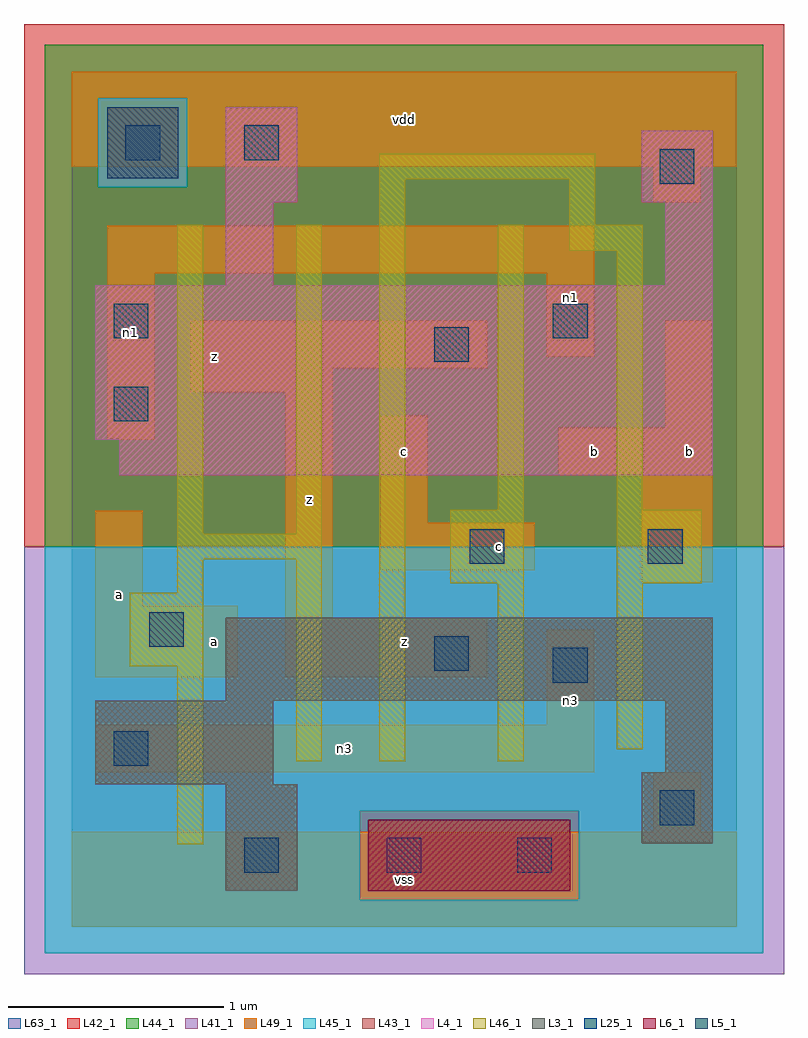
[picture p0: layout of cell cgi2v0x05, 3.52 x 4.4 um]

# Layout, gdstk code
import gdstk
lib = gdstk.Library(unit=1e-6, precision=1e-09)
def R(c, l, rs):  # rectangles x0, y0, x1, y1
    for r in rs: c.add(gdstk.rectangle(r[:2], r[2:], *l))
L3_1 = (3, 1)
L4_1 = (4, 1)
L5_1 = (5, 1)
L6_1 = (6, 1)
L25_1 = (25, 1)
L41_1 = (41, 1)
L42_1 = (42, 1)
L43_1 = (43, 1)
L44_1 = (44, 1)
L45_1 = (45, 1)
L46_1 = (46, 1)
L49_1 = (49, 1)
L63_1 = (63, 1)

cgi2v0x05 = lib.new_cell('cgi2v0x05')
R(cgi2v0x05, L3_1, [(0.715,0.165,1.045,0.66), (2.64,0.385,2.97,0.715), (0.11,0.66,0.935,1.045), (2.75,0.715,2.97,1.045), (0.715,1.045,2.97,1.43)])
R(cgi2v0x05, L4_1, [(0.22,2.09,2.97,2.255), (0.11,2.255,2.97,2.97), (0.715,2.97,0.935,3.355), (2.75,2.97,2.97,3.355), (0.715,3.355,1.045,3.795), (2.64,3.355,2.97,3.685)])
R(cgi2v0x05, L5_1, [(0.165,3.465,0.495,3.795)])
R(cgi2v0x05, L6_1, [(1.375,0.165,2.31,0.495)])
R(cgi2v0x05, L25_1, [(0.8,0.25,0.96,0.41), (1.46,0.25,1.62,0.41), (2.065,0.25,2.225,0.41), (2.725,0.47,2.885,0.63), (0.195,0.745,0.355,0.905), (2.23,1.13,2.39,1.29), (1.68,1.185,1.84,1.345), (0.36,1.295,0.52,1.455), (1.845,1.68,2.005,1.84), (2.67,1.68,2.83,1.84), (0.195,2.34,0.355,2.5), (1.68,2.615,1.84,2.775), (0.195,2.725,0.355,2.885), (2.23,2.725,2.39,2.885), (2.725,3.44,2.885,3.6), (0.25,3.55,0.41,3.71), (0.8,3.55,0.96,3.71)])
R(cgi2v0x05, L41_1, [(-0.22,-0.22,3.3,1.76)])
R(cgi2v0x05, L42_1, [(-0.22,1.76,3.3,4.18)])
R(cgi2v0x05, L43_1, [(0.715,0.165,1.045,0.66), (1.375,0.165,2.31,0.495), (2.64,0.385,2.97,0.715), (0.11,0.66,0.935,1.045), (2.75,0.715,2.97,1.045), (0.715,1.045,2.97,1.43), (0.22,2.09,2.97,2.255), (0.11,2.255,2.97,2.97), (0.715,2.97,0.935,3.355), (2.75,2.97,2.97,3.355), (0.715,3.355,1.045,3.795), (2.64,3.355,2.97,3.685), (0.165,3.465,0.495,3.795)])
R(cgi2v0x05, L44_1, [(1.335,0.125,2.35,0.535), (-0.125,1.76,3.205,3.425), (-0.125,3.425,0.125,3.835), (0.535,3.425,3.205,3.835), (-0.125,3.835,3.205,4.085)])
R(cgi2v0x05, L45_1, [(-0.125,-0.125,3.205,0.125), (-0.125,0.125,1.335,0.535), (2.35,0.125,3.205,0.535), (-0.125,0.535,3.205,1.76), (0.125,3.425,0.535,3.835)])
R(cgi2v0x05, L46_1, [(0.49,0.38,0.61,1.205), (1.04,0.765,1.16,1.7), (1.425,0.765,1.545,3.46), (1.975,0.765,2.095,1.59), (2.525,0.82,2.645,1.59), (0.27,1.205,0.61,1.545), (0.49,1.545,0.61,1.7), (1.755,1.59,2.095,1.93), (2.525,1.59,2.92,1.93), (0.49,1.7,1.16,1.82), (0.49,1.82,0.61,3.25), (1.04,1.82,1.16,3.25), (1.975,1.93,2.095,3.25), (2.525,1.93,2.645,3.13), (2.305,3.13,2.645,3.25), (2.305,3.25,2.425,3.46), (1.425,3.46,2.425,3.58)])
R(cgi2v0x05, L49_1, [(0,0,3.08,0.44), (2.695,0.44,2.915,0.715), (0.11,0.715,2.42,0.935), (2.2,0.935,2.42,1.375), (0.11,1.155,0.77,1.485), (0.99,1.155,1.925,1.43), (0.99,1.43,1.21,2.475), (0.11,1.485,0.33,1.925), (2.64,1.595,2.97,2.09), (1.43,1.65,2.145,1.87), (1.43,1.87,1.65,2.365), (2.255,2.09,2.97,2.31), (0.165,2.255,0.385,3.025), (2.75,2.31,2.97,2.805), (0.55,2.475,1.21,2.585), (0.55,2.585,1.925,2.805), (2.2,2.64,2.42,3.025), (0.165,3.025,2.42,3.245), (2.695,3.355,2.915,3.52), (0,3.52,3.08,3.96)])
R(cgi2v0x05, L63_1, [(0,0,3.08,3.96)])
cgi2v0x05.add(gdstk.Label('a', (0.22,1.54), layer=49, texttype=1))
cgi2v0x05.add(gdstk.Label('n1', (0.275,2.75), layer=49, texttype=1))
cgi2v0x05.add(gdstk.Label('a', (0.66,1.32), layer=49, texttype=1))
cgi2v0x05.add(gdstk.Label('z', (1.1,1.98), layer=49, texttype=1))
cgi2v0x05.add(gdstk.Label('z', (0.66,2.64), layer=49, texttype=1))
cgi2v0x05.add(gdstk.Label('vss', (1.54,0.22), layer=49, texttype=1))
cgi2v0x05.add(gdstk.Label('z', (1.54,1.32), layer=49, texttype=1))
cgi2v0x05.add(gdstk.Label('c', (1.98,1.76), layer=49, texttype=1))
cgi2v0x05.add(gdstk.Label('c', (1.54,2.2), layer=49, texttype=1))
cgi2v0x05.add(gdstk.Label('vdd', (1.54,3.74), layer=49, texttype=1))
cgi2v0x05.add(gdstk.Label('n3', (1.265,0.825), layer=49, texttype=1))
cgi2v0x05.add(gdstk.Label('n3', (2.31,1.045), layer=49, texttype=1))
cgi2v0x05.add(gdstk.Label('b', (2.86,2.2), layer=49, texttype=1))
cgi2v0x05.add(gdstk.Label('b', (2.42,2.2), layer=49, texttype=1))
cgi2v0x05.add(gdstk.Label('n1', (2.31,2.915), layer=49, texttype=1))

lib.write_gds('cgi2v0x05.gds')
